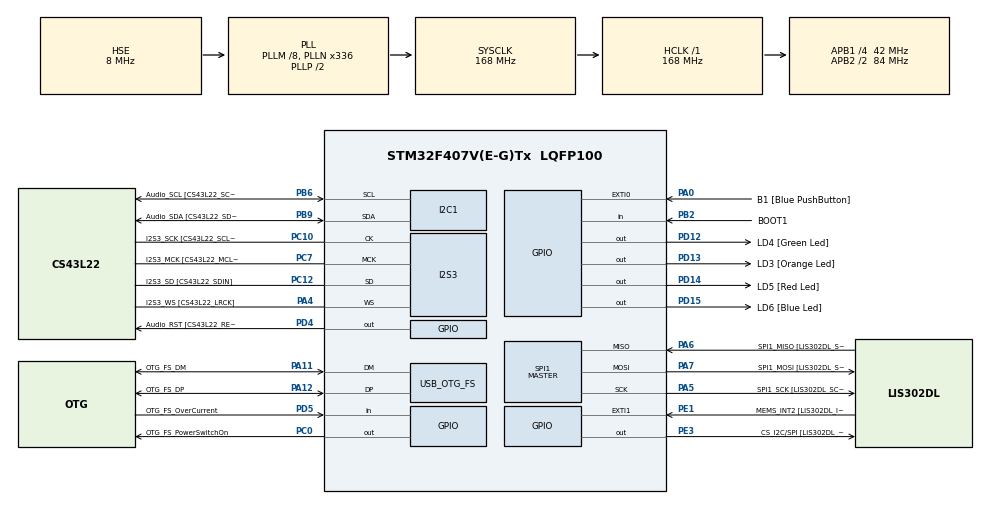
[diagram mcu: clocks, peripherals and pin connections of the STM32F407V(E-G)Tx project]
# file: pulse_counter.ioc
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Mcu.Family=STM32F4
PA11.GPIO_Speed=GPIO_SPEED_FREQ_LOW
PC3.GPIO_Mode=GPIO_MODE_AF_PP
PD12.GPIO_Label=LD4 [Green Led]
PA6.Mode=Full_Duplex_Master
USB_DEVICE.CLASS_NAME_FS=CDC
PH0-OSC_IN.Signal=RCC_OSC_IN
RCC.CortexFreq_Value=168000000
PC10.GPIO_PuPd=GPIO_NOPULL
PB10.GPIO_Speed=GPIO_SPEED_FREQ_LOW
SPI1.VirtualType=VM_MASTER
PB6.GPIO_Mode=GPIO_MODE_AF_OD
PB10.GPIO_PuPd=GPIO_NOPULL
PA10.GPIO_PuPd=GPIO_NOPULL
PD15.GPIO_Speed=GPIO_SPEED_FREQ_LOW
PC10.Signal=I2S3_CK
PC12.Signal=I2S3_SD
PA14.GPIO_Label=SWCLK
PA7.GPIO_Mode=GPIO_MODE_AF_PP
PC0.GPIO_Label=OTG_FS_PowerSwitchOn
PA11.Mode=Device_Only
PA6.GPIO_Label=SPI1_MISO [LIS302DL_SDO]
PB6.GPIO_Label=Audio_SCL [CS43L22_SCL]
USB_DEVICE.VirtualMode-CDC_FS=Cdc
PC10.GPIO_Speed=GPIO_SPEED_FREQ_LOW
PA11.GPIO_PuPd=GPIO_NOPULL
PC15-OSC32_OUT.GPIO_Label=PC15-OSC32_OUT
PC3.GPIO_Speed=GPIO_SPEED_FREQ_LOW
RCC.SYSCLKSource=RCC_SYSCLKSOURCE_PLLCLK
ProjectManager.StackSize=0x400
PA6.GPIO_Mode=GPIO_MODE_AF_PP
SPI1.Mode-Full_Duplex_Master=SPI_MODE_MASTER
PD13.Signal=GPIO_Output
PD14.GPIO_Speed=GPIO_SPEED_FREQ_LOW
PA12.Signal=USB_OTG_FS_DP
PA4.Mode=Half_Duplex_Master
SPI1.Direction=SPI_DIRECTION_2LINES
I2S3.AudioFreq-Half_Duplex_Master=I2S_AUDIOFREQ_96K
RCC.HCLKFreq_Value=168000000
PD4.Signal=GPIO_Output
RCC.APB2TimFreq_Value=168000000
PB6.Signal=I2C1_SCL
PC7.Signal=I2S3_MCK
PB6.Mode=I2C
PC3.Signal=I2S2_SD
PE1.Signal=GPXTI1
RCC.AHBFreq_Value=168000000
PH0-OSC_IN.Mode=HSE-External-Oscillator
PH0-OSC_IN.GPIO_Label=PH0-OSC_IN
PA9.GPIO_Mode=GPIO_MODE_INPUT
RCC.HSE_VALUE=8000000
PA4.GPIO_PuPd=GPIO_NOPULL
PB2.Signal=GPIO_Input
PA4.GPIO_Speed=GPIO_SPEED_FREQ_LOW
I2S3.ErrorAudioFreq=-2.34 %
PA6.GPIO_PuPd=GPIO_NOPULL
PC14-OSC32_IN.Mode=LSE-External-Oscillator
PA14.Mode=Serial_Wire
PA5.GPIO_PuPd=GPIO_NOPULL
I2S3.ErrorAudioFreq-Half_Duplex_Master=0.8 %
PA10.GPIO_Label=OTG_FS_ID
PC7.GPIO_Mode=GPIO_MODE_AF_PP
PD5.GPIO_Mode=GPIO_MODE_INPUT
PD14.GPIO_PuPd=GPIO_NOPULL
PB2.GPIO_PuPd=GPIO_NOPULL
SPI1.CalculateBaudRate-Full_Duplex_Master=42.0 MBits/s
PH1-OSC_OUT.Mode=HSE-External-Oscillator
PD13.GPIO_Label=LD3 [Orange Led]
Mcu.Package=LQFP100
PB9.Signal=I2C1_SDA
PA6.Signal=SPI1_MISO
PD12.Signal=GPIO_Output
PD5.GPIO_Label=OTG_FS_OverCurrent
NVIC.OTG_FS_IRQn=true\:0\:0\:false\:false\:true\:true\:true
PD15.GPIO_PuPd=GPIO_NOPULL
PA10.Signal=USB_OTG_FS_ID
PB9.GPIO_PuPd=GPIO_NOPULL
USB_OTG_FS.VirtualMode=Device_Only
PA10.GPIO_Speed=GPIO_SPEED_FREQ_LOW
RCC.APB2CLKDivider=RCC_HCLK_DIV2
PB9.GPIO_Speed=GPIO_SPEED_FREQ_LOW
RCC.APB1TimFreq_Value=84000000
PC14-OSC32_IN.GPIO_Label=PC14-OSC32_IN
PC12.GPIO_PuPd=GPIO_NOPULL
PA6.GPIO_Speed=GPIO_SPEED_FREQ_LOW
PC0.GPIO_PuPd=GPIO_NOPULL
PA12.GPIO_PuPd=GPIO_NOPULL
PA4.GPIO_Label=I2S3_WS [CS43L22_LRCK]
PD15.Signal=GPIO_Output
PC0.PinState=GPIO_PIN_SET
PA12.GPIO_Speed=GPIO_SPEED_FREQ_LOW
PA5.Mode=Full_Duplex_Master
PB3.GPIO_Label=SWO
PC15-OSC32_OUT.Mode=LSE-External-Oscillator
I2S3.FullDuplexMode=I2S_FULLDUPLEXMODE_DISABLE
PD12.GPIO_Speed=GPIO_SPEED_FREQ_LOW
PD15.GPIO_Label=LD6 [Blue Led]
PA7.Mode=Full_Duplex_Master
PB9.GPIO_Label=Audio_SDA [CS43L22_SDA]
PC10.GPIO_Label=I2S3_SCK [CS43L22_SCLK]
USB_DEVICE.VirtualModeFS=Cdc_FS
PA9.GPIO_Label=VBUS_FS
PB6.GPIO_PuPd=GPIO_NOPULL
PC10.Mode=Half_Duplex_Master
PA11.GPIO_Label=OTG_FS_DM
PE1.GPIO_PuPd=GPIO_NOPULL
PD5.Signal=GPIO_Input
PC0.Signal=GPIO_Output
PE1.GPIO_ModeDefaultEXTI=GPIO_MODE_EVT_RISING
RCC.APB1CLKDivider=RCC_HCLK_DIV4
PC14-OSC32_IN.Signal=RCC_OSC32_IN
PA9.GPIO_PuPd=GPIO_NOPULL
PA0-WKUP.GPIO_ModeDefaultEXTI=GPIO_MODE_IT_RISING
PA12.GPIO_Label=OTG_FS_DP
PA0-WKUP.GPIO_Label=B1 [Blue PushButton]
PA0-WKUP.Signal=GPXTI0
PA10.GPIO_Mode=GPIO_MODE_AF_PP
PA13.Signal=SYS_JTMS-SWDIO
PC10.GPIO_Mode=GPIO_MODE_AF_PP
PD4.GPIO_PuPd=GPIO_NOPULL
PC0.GPIO_Speed=GPIO_SPEED_FREQ_LOW
PB10.GPIO_Mode=GPIO_MODE_AF_PP
I2S3.RealAudioFreq-Half_Duplex_Master=96.774 KHz
ProjectManager.TargetToolchain=STM32CubeIDE
PB10.GPIO_Label=CLK_IN [MP45DT02_CLK]
VP_USB_DEVICE_VS_USB_DEVICE_CDC_FS.Mode=CDC_FS
PB9.Mode=I2C
PA9.Signal=USB_OTG_FS_VBUS
I2S3.VirtualMode=I2S_MODE_MASTER
PC7.GPIO_PuPd=GPIO_NOPULL
PC15-OSC32_OUT.Signal=RCC_OSC32_OUT
PA7.GPIO_PuPd=GPIO_NOPULL
PB10.Signal=I2S2_CK
PA5.Signal=SPI1_SCK
PC12.Mode=Half_Duplex_Master
board=STM32F407G-DISC1
PD13.GPIO_Speed=GPIO_SPEED_FREQ_LOW
PC7.GPIO_Speed=GPIO_SPEED_FREQ_LOW
RCC.VCOOutputFreq_Value=336000000
PE1.GPIO_Label=MEMS_INT2 [LIS302DL_INT2]
PA7.GPIO_Speed=GPIO_SPEED_FREQ_LOW
PB9.GPIO_Mode=GPIO_MODE_AF_OD
PA12.GPIO_Mode=GPIO_MODE_AF_PP
PA4.GPIO_Mode=GPIO_MODE_AF_PP
RCC.APB2Freq_Value=84000000
PB2.GPIO_Mode=GPIO_MODE_INPUT
SPI1.Mode=SPI_MODE_MASTER
PD4.GPIO_Label=Audio_RST [CS43L22_RESET]
PD4.GPIO_Speed=GPIO_SPEED_FREQ_LOW
PE3.GPIO_PuPd=GPIO_NOPULL
PH1-OSC_OUT.Signal=RCC_OSC_OUT
PD13.GPIO_PuPd=GPIO_NOPULL
PD5.GPIO_PuPd=GPIO_NOPULL
PD14.GPIO_Label=LD5 [Red Led]
PH1-OSC_OUT.GPIO_Label=PH1-OSC_OUT
PA13.Mode=Serial_Wire
Mcu.Name=STM32F407V(E-G)Tx
PA13.GPIO_Label=SWDIO
PC7.GPIO_Label=I2S3_MCK [CS43L22_MCLK]
PD14.Signal=GPIO_Output
RCC.48MHZClocksFreq_Value=48000000
PB3.Signal=SYS_JTDO-SWO
NVIC.EXTI0_IRQn=true\:0\:0\:false\:false\:true\:true\:true
PA4.Signal=I2S3_WS
RCC.SYSCLKFreq_VALUE=168000000
PC12.GPIO_Mode=GPIO_MODE_AF_PP
PA7.GPIO_Label=SPI1_MOSI [LIS302DL_SDA/SDI/SDO]
PA12.Mode=Device_Only
PA5.GPIO_Label=SPI1_SCK [LIS302DL_SCL/SPC]
PE3.GPIO_Speed=GPIO_SPEED_FREQ_LOW
PC12.GPIO_Label=I2S3_SD [CS43L22_SDIN]
PA11.Signal=USB_OTG_FS_DM
PA14.Signal=SYS_JTCK-SWCLK
PB2.GPIO_Label=BOOT1
ProjectManager.HeapSize=0x200
RCC.HSI_VALUE=16000000
PA5.GPIO_Speed=GPIO_SPEED_FREQ_LOW
RCC.PLLQ=7
NVIC.PriorityGroup=NVIC_PRIORITYGROUP_0
I2S3.RealAudioFreq=93.75 KHz
RCC.PLLM=8
RCC.PLLN=336
PE3.Signal=GPIO_Output
PE3.GPIO_Label=CS_I2C/SPI [LIS302DL_CS_I2C/SPI]
PC3.GPIO_Label=PDM_OUT [MP45DT02_DOUT]
PA0-WKUP.GPIO_PuPd=GPIO_NOPULL
I2S3.Instance=SPI$Index
PC7.Mode=Master_Clock_Activated
PA11.GPIO_Mode=GPIO_MODE_AF_PP
PB6.GPIO_Speed=GPIO_SPEED_FREQ_LOW
RCC.APB1Freq_Value=42000000
PA5.GPIO_Mode=GPIO_MODE_AF_PP
PC12.GPIO_Speed=GPIO_SPEED_FREQ_LOW
SPI1.BaudRatePrescaler-Full_Duplex_Master=SPI_BAUDRATEPRESCALER_2
PC3.GPIO_PuPd=GPIO_NOPULL
PD12.GPIO_PuPd=GPIO_NOPULL
PA7.Signal=SPI1_MOSI

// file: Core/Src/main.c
/* USER CODE BEGIN Header */
/**
  ******************************************************************************
  * @file           : main.c
  * @brief          : Main program body
  ******************************************************************************
  * @attention
  *
  * <h2><center>&copy; Copyright (c) 2022 STMicroelectronics.
  * All rights reserved.</center></h2>
  *
  * This software component is licensed by ST under Ultimate Liberty license
  * SLA0044, the "License"; You may not use this file except in compliance with
  * the License. You may obtain a copy of the License at:
  *                             www.st.com/SLA0044
  *
  ******************************************************************************
  */
/* USER CODE END Header */
#include "main.h"
#include "usb_device.h"

/* USER CODE BEGIN Includes */
#include <stdbool.h>
#include <string.h>
/* USER CODE END Includes */

I2C_HandleTypeDef hi2c1;

I2S_HandleTypeDef hi2s3;

SPI_HandleTypeDef hspi1;

void SystemClock_Config(void);
static void MX_GPIO_Init(void);
static void MX_I2C1_Init(void);
static void MX_I2S3_Init(void);
static void MX_SPI1_Init(void);
/* USER CODE BEGIN PFP */
bool state = false;
uint32_t counter = 0;
uint32_t prev_millis = 0;
uint32_t current_millis = 0;
/* USER CODE END PFP */

/* USER CODE BEGIN 0 */
void HAL_GPIO_EXTI_Callback( uint16_t GPIO_Pin)
{
	current_millis = HAL_GetTick();
	if((GPIO_Pin == B1_Pin) && (current_millis - prev_millis > 200))
	{
		counter++;
		prev_millis = current_millis;

	   //This block will be triggered after pin activated.
		if (state == false)
		{
			HAL_GPIO_WritePin(LD3_GPIO_Port, LD3_Pin, GPIO_PIN_SET);
			state = true;
		}
		else
		{
			HAL_GPIO_WritePin(LD3_GPIO_Port, LD3_Pin, GPIO_PIN_RESET);
			state = false;
		}
	}
	else
	{
		//Do not do anything when else.
		__NOP();
	}
}
/* USER CODE END 0 */

int main(void)
{

  /* MCU Configuration--------------------------------------------------------*/

  /* Reset of all peripherals, Initializes the Flash interface and the Systick. */
  HAL_Init();

  /* Configure the system clock */
  SystemClock_Config();

  /* Initialize all configured peripherals */
  MX_GPIO_Init();
  MX_I2C1_Init();
  MX_I2S3_Init();
  MX_SPI1_Init();
  MX_USB_DEVICE_Init();
  /* USER CODE BEGIN 2 */
  uint8_t msg_buffer[64] = {'\0'};
  /* USER CODE END 2 */

  /* Infinite loop */
  while (1)
  {

    /* USER CODE BEGIN 3 */
	snprintf(msg_buffer, sizeof(msg_buffer), "Pulse counts = %d\r\n", counter);
	CDC_Transmit_FS((uint8_t*)msg_buffer, strlen(msg_buffer));

	HAL_Delay(1000); // wait for 1 sec
  }
  /* USER CODE END 3 */
}

void SystemClock_Config(void)
{
  RCC_OscInitTypeDef RCC_OscInitStruct = {0};
  RCC_ClkInitTypeDef RCC_ClkInitStruct = {0};
  RCC_PeriphCLKInitTypeDef PeriphClkInitStruct = {0};

  /** Configure the main internal regulator output voltage
  */
  __HAL_RCC_PWR_CLK_ENABLE();
  __HAL_PWR_VOLTAGESCALING_CONFIG(PWR_REGULATOR_VOLTAGE_SCALE1);
  /** Initializes the RCC Oscillators according to the specified parameters
  * in the RCC_OscInitTypeDef structure.
  */
  RCC_OscInitStruct.OscillatorType = RCC_OSCILLATORTYPE_HSE;
  RCC_OscInitStruct.HSEState = RCC_HSE_ON;
  RCC_OscInitStruct.PLL.PLLState = RCC_PLL_ON;
  RCC_OscInitStruct.PLL.PLLSource = RCC_PLLSOURCE_HSE;
  RCC_OscInitStruct.PLL.PLLM = 8;
  RCC_OscInitStruct.PLL.PLLN = 336;
  RCC_OscInitStruct.PLL.PLLP = RCC_PLLP_DIV2;
  RCC_OscInitStruct.PLL.PLLQ = 7;
  if (HAL_RCC_OscConfig(&RCC_OscInitStruct) != HAL_OK)
  {
    Error_Handler();
  }
  /** Initializes the CPU, AHB and APB buses clocks
  */
  RCC_ClkInitStruct.ClockType = RCC_CLOCKTYPE_HCLK|RCC_CLOCKTYPE_SYSCLK
                              |RCC_CLOCKTYPE_PCLK1|RCC_CLOCKTYPE_PCLK2;
  RCC_ClkInitStruct.SYSCLKSource = RCC_SYSCLKSOURCE_PLLCLK;
  RCC_ClkInitStruct.AHBCLKDivider = RCC_SYSCLK_DIV1;
  RCC_ClkInitStruct.APB1CLKDivider = RCC_HCLK_DIV4;
  RCC_ClkInitStruct.APB2CLKDivider = RCC_HCLK_DIV2;

  if (HAL_RCC_ClockConfig(&RCC_ClkInitStruct, FLASH_LATENCY_5) != HAL_OK)
  {
    Error_Handler();
  }
  PeriphClkInitStruct.PeriphClockSelection = RCC_PERIPHCLK_I2S;
  PeriphClkInitStruct.PLLI2S.PLLI2SN = 192;
  PeriphClkInitStruct.PLLI2S.PLLI2SR = 2;
  if (HAL_RCCEx_PeriphCLKConfig(&PeriphClkInitStruct) != HAL_OK)
  {
    Error_Handler();
  }
}

static void MX_I2C1_Init(void)
{

  hi2c1.Instance = I2C1;
  hi2c1.Init.ClockSpeed = 100000;
  hi2c1.Init.DutyCycle = I2C_DUTYCYCLE_2;
  hi2c1.Init.OwnAddress1 = 0;
  hi2c1.Init.AddressingMode = I2C_ADDRESSINGMODE_7BIT;
  hi2c1.Init.DualAddressMode = I2C_DUALADDRESS_DISABLE;
  hi2c1.Init.OwnAddress2 = 0;
  hi2c1.Init.GeneralCallMode = I2C_GENERALCALL_DISABLE;
  hi2c1.Init.NoStretchMode = I2C_NOSTRETCH_DISABLE;
  if (HAL_I2C_Init(&hi2c1) != HAL_OK)
  {
    Error_Handler();
  }

}

static void MX_I2S3_Init(void)
{

  hi2s3.Instance = SPI3;
  hi2s3.Init.Mode = I2S_MODE_MASTER_TX;
  hi2s3.Init.Standard = I2S_STANDARD_PHILIPS;
  hi2s3.Init.DataFormat = I2S_DATAFORMAT_16B;
  hi2s3.Init.MCLKOutput = I2S_MCLKOUTPUT_ENABLE;
  hi2s3.Init.AudioFreq = I2S_AUDIOFREQ_96K;
  hi2s3.Init.CPOL = I2S_CPOL_LOW;
  hi2s3.Init.ClockSource = I2S_CLOCK_PLL;
  hi2s3.Init.FullDuplexMode = I2S_FULLDUPLEXMODE_DISABLE;
  if (HAL_I2S_Init(&hi2s3) != HAL_OK)
  {
    Error_Handler();
  }

}

static void MX_SPI1_Init(void)
{

  /* SPI1 parameter configuration*/
  hspi1.Instance = SPI1;
  hspi1.Init.Mode = SPI_MODE_MASTER;
  hspi1.Init.Direction = SPI_DIRECTION_2LINES;
  hspi1.Init.DataSize = SPI_DATASIZE_8BIT;
  hspi1.Init.CLKPolarity = SPI_POLARITY_LOW;
  hspi1.Init.CLKPhase = SPI_PHASE_1EDGE;
  hspi1.Init.NSS = SPI_NSS_SOFT;
  hspi1.Init.BaudRatePrescaler = SPI_BAUDRATEPRESCALER_2;
  hspi1.Init.FirstBit = SPI_FIRSTBIT_MSB;
  hspi1.Init.TIMode = SPI_TIMODE_DISABLE;
  hspi1.Init.CRCCalculation = SPI_CRCCALCULATION_DISABLE;
  hspi1.Init.CRCPolynomial = 10;
  if (HAL_SPI_Init(&hspi1) != HAL_OK)
  {
    Error_Handler();
  }

}

static void MX_GPIO_Init(void)
{
  GPIO_InitTypeDef GPIO_InitStruct = {0};

  /* GPIO Ports Clock Enable */
  __HAL_RCC_GPIOE_CLK_ENABLE();
  __HAL_RCC_GPIOC_CLK_ENABLE();
  __HAL_RCC_GPIOH_CLK_ENABLE();
  __HAL_RCC_GPIOA_CLK_ENABLE();
  __HAL_RCC_GPIOB_CLK_ENABLE();
  __HAL_RCC_GPIOD_CLK_ENABLE();

  /*Configure GPIO pin Output Level */
  HAL_GPIO_WritePin(CS_I2C_SPI_GPIO_Port, CS_I2C_SPI_Pin, GPIO_PIN_RESET);

  /*Configure GPIO pin Output Level */
  HAL_GPIO_WritePin(OTG_FS_PowerSwitchOn_GPIO_Port, OTG_FS_PowerSwitchOn_Pin, GPIO_PIN_SET);

  /*Configure GPIO pin Output Level */
  HAL_GPIO_WritePin(GPIOD, LD4_Pin|LD3_Pin|LD5_Pin|LD6_Pin
                          |Audio_RST_Pin, GPIO_PIN_RESET);

  /*Configure GPIO pin : CS_I2C_SPI_Pin */
  GPIO_InitStruct.Pin = CS_I2C_SPI_Pin;
  GPIO_InitStruct.Mode = GPIO_MODE_OUTPUT_PP;
  GPIO_InitStruct.Pull = GPIO_NOPULL;
  GPIO_InitStruct.Speed = GPIO_SPEED_FREQ_LOW;
  HAL_GPIO_Init(CS_I2C_SPI_GPIO_Port, &GPIO_InitStruct);

  /*Configure GPIO pin : OTG_FS_PowerSwitchOn_Pin */
  GPIO_InitStruct.Pin = OTG_FS_PowerSwitchOn_Pin;
  GPIO_InitStruct.Mode = GPIO_MODE_OUTPUT_PP;
  GPIO_InitStruct.Pull = GPIO_NOPULL;
  GPIO_InitStruct.Speed = GPIO_SPEED_FREQ_LOW;
  HAL_GPIO_Init(OTG_FS_PowerSwitchOn_GPIO_Port, &GPIO_InitStruct);

  /*Configure GPIO pin : PDM_OUT_Pin */
  GPIO_InitStruct.Pin = PDM_OUT_Pin;
  GPIO_InitStruct.Mode = GPIO_MODE_AF_PP;
  GPIO_InitStruct.Pull = GPIO_NOPULL;
  GPIO_InitStruct.Speed = GPIO_SPEED_FREQ_LOW;
  GPIO_InitStruct.Alternate = GPIO_AF5_SPI2;
  HAL_GPIO_Init(PDM_OUT_GPIO_Port, &GPIO_InitStruct);

  /*Configure GPIO pin : B1_Pin */
  GPIO_InitStruct.Pin = B1_Pin;
  GPIO_InitStruct.Mode = GPIO_MODE_IT_RISING;
  GPIO_InitStruct.Pull = GPIO_NOPULL;
  HAL_GPIO_Init(B1_GPIO_Port, &GPIO_InitStruct);

  /*Configure GPIO pin : BOOT1_Pin */
  GPIO_InitStruct.Pin = BOOT1_Pin;
  GPIO_InitStruct.Mode = GPIO_MODE_INPUT;
  GPIO_InitStruct.Pull = GPIO_NOPULL;
  HAL_GPIO_Init(BOOT1_GPIO_Port, &GPIO_InitStruct);

  /*Configure GPIO pin : CLK_IN_Pin */
  GPIO_InitStruct.Pin = CLK_IN_Pin;
  GPIO_InitStruct.Mode = GPIO_MODE_AF_PP;
  GPIO_InitStruct.Pull = GPIO_NOPULL;
  GPIO_InitStruct.Speed = GPIO_SPEED_FREQ_LOW;
  GPIO_InitStruct.Alternate = GPIO_AF5_SPI2;
  HAL_GPIO_Init(CLK_IN_GPIO_Port, &GPIO_InitStruct);

  /*Configure GPIO pins : LD4_Pin LD3_Pin LD5_Pin LD6_Pin
                           Audio_RST_Pin */
  GPIO_InitStruct.Pin = LD4_Pin|LD3_Pin|LD5_Pin|LD6_Pin
                          |Audio_RST_Pin;
  GPIO_InitStruct.Mode = GPIO_MODE_OUTPUT_PP;
  GPIO_InitStruct.Pull = GPIO_NOPULL;
  GPIO_InitStruct.Speed = GPIO_SPEED_FREQ_LOW;
  HAL_GPIO_Init(GPIOD, &GPIO_InitStruct);

  /*Configure GPIO pin : OTG_FS_OverCurrent_Pin */
  GPIO_InitStruct.Pin = OTG_FS_OverCurrent_Pin;
  GPIO_InitStruct.Mode = GPIO_MODE_INPUT;
  GPIO_InitStruct.Pull = GPIO_NOPULL;
  HAL_GPIO_Init(OTG_FS_OverCurrent_GPIO_Port, &GPIO_InitStruct);

  /*Configure GPIO pin : MEMS_INT2_Pin */
  GPIO_InitStruct.Pin = MEMS_INT2_Pin;
  GPIO_InitStruct.Mode = GPIO_MODE_EVT_RISING;
  GPIO_InitStruct.Pull = GPIO_NOPULL;
  HAL_GPIO_Init(MEMS_INT2_GPIO_Port, &GPIO_InitStruct);

  /* EXTI interrupt init*/
  HAL_NVIC_SetPriority(EXTI0_IRQn, 0, 0);
  HAL_NVIC_EnableIRQ(EXTI0_IRQn);

}

void Error_Handler(void)
{
  __disable_irq();
  while (1)
  {
  }
}

/************************ (C) COPYRIGHT STMicroelectronics *****END OF FILE****/
